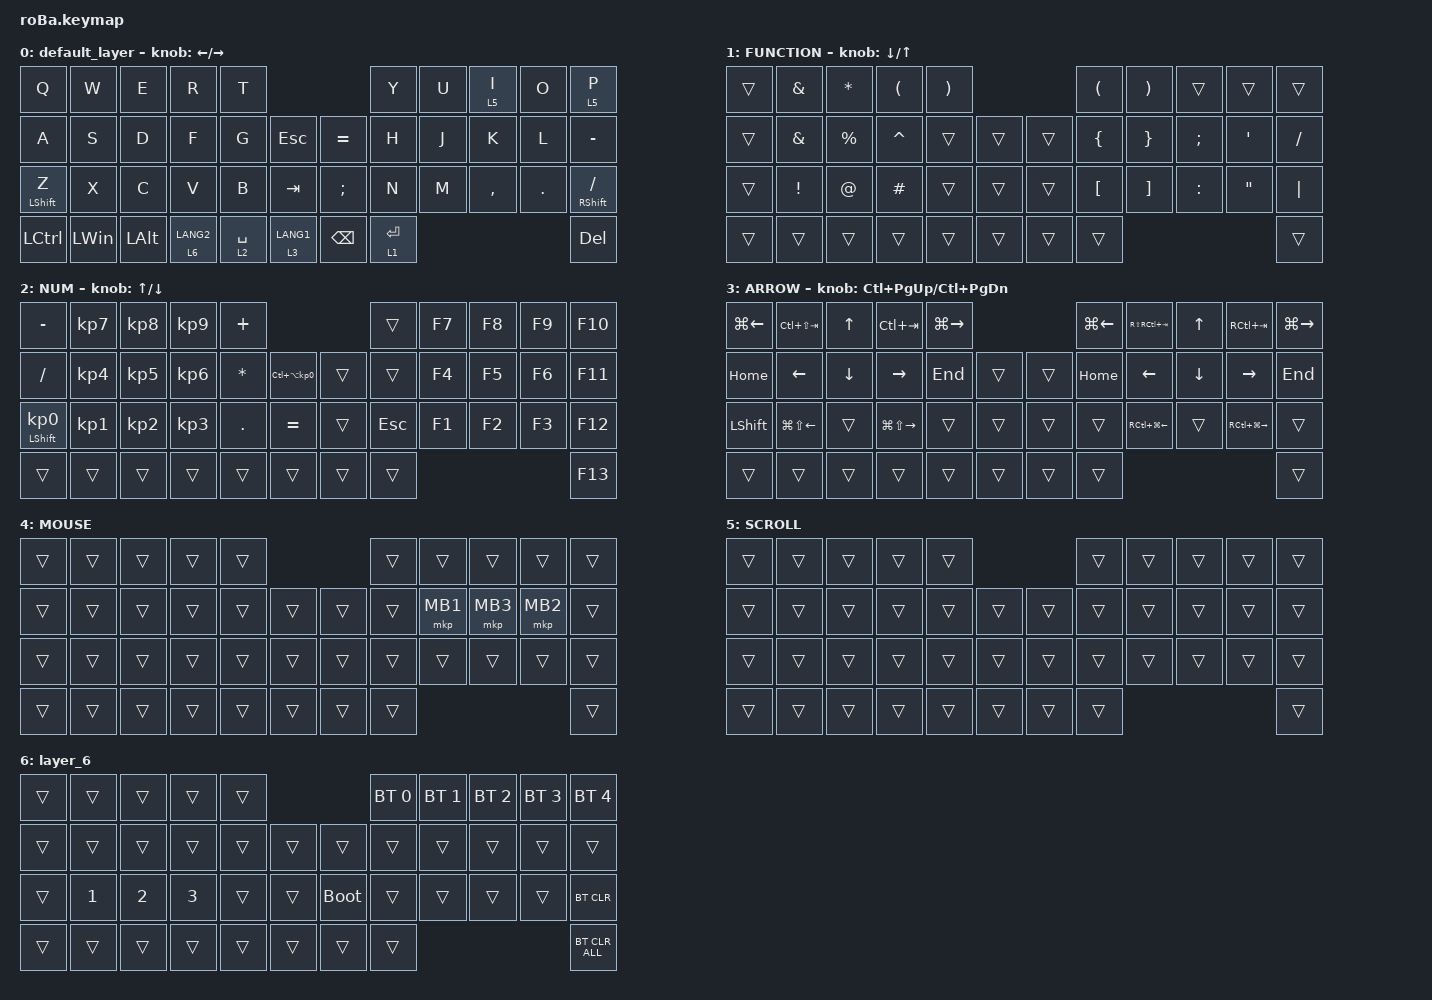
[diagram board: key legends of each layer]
#include <behaviors.dtsi>
#include <dt-bindings/zmk/bt.h>
#include <dt-bindings/zmk/keys.h>
#include <dt-bindings/zmk/pointing.h>

&mt {
    flavor = "balanced";
    quick-tap-ms = <0>;
};

&trackball {
    automouse-layer = <4>;
    scroll-layers = <5>;

    // arrows {
    //     layers = <3>;
    //     bindings =
    //         <&kp RIGHT_ARROW>,
    //         <&kp LEFT_ARROW>,
    //         <&kp UP_ARROW>,
    //         <&kp DOWN_ARROW>;
    //     tick = <10>;
    //     wait-ms = <5>;
    //     tap-ms = <5>;
    // };
};

/ {
    combos {
        compatible = "zmk,combos";

        tab {
            bindings = <&kp TAB>;
            key-positions = <11 12>;
        };

        shift_tab {
            bindings = <&kp LS(TAB)>;
            key-positions = <12 13>;
        };

        muhennkann {
            bindings = <&to_layer_0 INT_MUHENKAN>;
            key-positions = <11 10>;
        };

        double_quotation {
            bindings = <&kp DOUBLE_QUOTES>;
            key-positions = <20 21>;
        };

        eq {
            bindings = <&kp EQUAL>;
            key-positions = <24 25>;
        };
    };

    macros {
        to_layer_0: to_layer_0 {
            compatible = "zmk,behavior-macro-one-param";
            #binding-cells = <1>;
            bindings = <&to 0 &macro_param_1to1 &kp MACRO_PLACEHOLDER>;
            label = "TO_LAYER_0";
        };
    };

    behaviors {
        lt_to_layer_0: lt_to_layer_0 {
            compatible = "zmk,behavior-hold-tap";
            label = "LAYER_TAP_TO_0";
            bindings = <&mo>, <&to_layer_0>;

            #binding-cells = <2>;
            tapping-term-ms = <200>;
        };
    };

    keymap {
        compatible = "zmk,keymap";

        default_layer {
            bindings = <
&kp Q         &kp W         &kp E         &kp R        &kp T                                        &kp Y        &kp U  &lt 5 I    &kp O    &lt 5 P
&kp A         &kp S         &kp D         &kp F        &kp G        &kp ESC          &kp EQUAL      &kp H        &kp J  &kp K      &kp L    &kp MINUS
&mt LSHIFT Z  &kp X         &kp C         &kp V        &kp B        &kp TAB          &kp SEMICOLON  &kp N        &kp M  &kp COMMA  &kp DOT  &mt RSHIFT SLASH
&kp LCTRL     &kp LEFT_WIN  &kp LEFT_ALT  &lt 6 LANG2  &lt 2 SPACE  &lt 3 LANG1      &kp BACKSPACE  &lt 1 ENTER                             &kp DEL
            >;

            sensor-bindings = <&inc_dec_kp LEFT_ARROW RIGHT_ARROW>;
        };

        FUNCTION {
            bindings = <
&trans  &kp AMPERSAND    &kp ASTERISK  &kp LEFT_PARENTHESIS  &kp RIGHT_PARENTHESIS                      &kp LEFT_PARENTHESIS  &kp RIGHT_PARENTHESIS  &trans         &trans             &trans
&trans  &kp AMPERSAND    &kp PERCENT   &kp CARET             &trans                 &trans      &trans  &kp LEFT_BRACE        &kp RIGHT_BRACE        &kp SEMICOLON  &kp SINGLE_QUOTE   &kp SLASH
&trans  &kp EXCLAMATION  &kp AT_SIGN   &kp HASH              &trans                 &trans      &trans  &kp LEFT_BRACKET      &kp RIGHT_BRACKET      &kp COLON      &kp DOUBLE_QUOTES  &kp PIPE
&trans  &trans           &trans        &trans                &trans                 &trans      &trans  &trans                                                                         &trans
            >;

            sensor-bindings = <&inc_dec_kp DOWN_ARROW UP_ARROW>;
        };

        NUM {
            bindings = <
&kp MINUS                   &kp KP_NUMBER_7  &kp KP_NUMBER_8  &kp KP_NUMBER_9  &kp PLUS                                           &trans      &kp F7  &kp F8  &kp F9  &kp F10
&kp SLASH                   &kp KP_NUMBER_4  &kp KP_NUMBER_5  &kp KP_NUMBER_6  &kp ASTERISK  &kp LC(LA(KP_NUMBER_0))      &trans  &trans      &kp F4  &kp F5  &kp F6  &kp F11
&mt LEFT_SHIFT KP_NUMBER_0  &kp KP_NUMBER_1  &kp KP_NUMBER_2  &kp KP_NUMBER_3  &kp PERIOD    &kp EQUAL                    &trans  &kp ESCAPE  &kp F1  &kp F2  &kp F3  &kp F12
&trans                      &trans           &trans           &trans           &trans        &trans                       &trans  &trans                              &kp F13
            >;

            sensor-bindings = <&inc_dec_kp UP_ARROW DOWN>;
        };

        ARROW {
            bindings = <
&kp LG(LEFT_ARROW)  &kp LC(LS(TAB))         &kp UP_ARROW    &kp LC(TAB)              &kp LG(RIGHT)                      &kp LG(LEFT)  &kp RS(RC(TAB))   &kp UP_ARROW  &kp RC(TAB)        &kp LG(RIGHT)
&kp HOME            &kp LEFT_ARROW          &kp DOWN_ARROW  &kp RIGHT_ARROW          &kp END        &trans      &trans  &kp HOME      &kp LEFT          &kp DOWN      &kp RIGHT          &kp END
&kp LEFT_SHIFT      &kp LG(LS(LEFT_ARROW))  &trans          &kp LG(LS(RIGHT_ARROW))  &trans         &trans      &trans  &trans        &kp RC(LG(LEFT))  &trans        &kp RC(LG(RIGHT))  &trans
&trans              &trans                  &trans          &trans                   &trans         &trans      &trans  &trans                                                           &trans
            >;

            sensor-bindings = <&inc_dec_kp LC(PAGE_UP) LC(PAGE_DOWN)>;
        };

        MOUSE {
            bindings = <
&trans  &trans  &trans  &trans  &trans                      &trans  &trans    &trans    &trans    &trans
&trans  &trans  &trans  &trans  &trans  &trans      &trans  &trans  &mkp MB1  &mkp MB3  &mkp MB2  &trans
&trans  &trans  &trans  &trans  &trans  &trans      &trans  &trans  &trans    &trans    &trans    &trans
&trans  &trans  &trans  &trans  &trans  &trans      &trans  &trans                                &trans
            >;
        };

        SCROLL {
            bindings = <
&trans  &trans  &trans  &trans  &trans                      &trans  &trans  &trans  &trans  &trans
&trans  &trans  &trans  &trans  &trans  &trans      &trans  &trans  &trans  &trans  &trans  &trans
&trans  &trans  &trans  &trans  &trans  &trans      &trans  &trans  &trans  &trans  &trans  &trans
&trans  &trans  &trans  &trans  &trans  &trans      &trans  &trans                          &trans
            >;
        };

        layer_6 {
            bindings = <
&trans  &trans        &trans        &trans        &trans                           &bt BT_SEL 0  &bt BT_SEL 1  &bt BT_SEL 2  &bt BT_SEL 3  &bt BT_SEL 4
&trans  &trans        &trans        &trans        &trans  &trans      &trans       &trans        &trans        &trans        &trans        &trans
&trans  &kp NUMBER_1  &kp NUMBER_2  &kp NUMBER_3  &trans  &trans      &bootloader  &trans        &trans        &trans        &trans        &bt BT_CLR
&trans  &trans        &trans        &trans        &trans  &trans      &trans       &trans                                                  &bt BT_CLR_ALL
            >;
        };
    };
};
